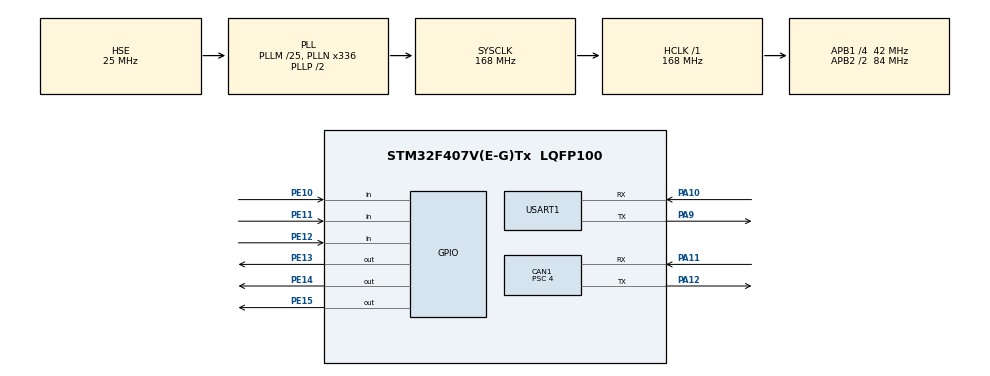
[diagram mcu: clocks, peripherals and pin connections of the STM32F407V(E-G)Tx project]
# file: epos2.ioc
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CAN1.BS1=CAN_BS1_15TQ
CAN1.BS2=CAN_BS2_5TQ
CAN1.CalculateTimeBit=2000
CAN1.CalculateTimeQuantum=95.23809523809524
CAN1.Prescaler=4
Mcu.Family=STM32F4
Mcu.Name=STM32F407V(E-G)Tx
Mcu.Package=LQFP100
NVIC.PriorityGroup=NVIC_PRIORITYGROUP_4
PA10.Mode=Asynchronous
PA10.Signal=USART1_RX
PA11.Mode=Master
PA11.Signal=CAN1_RX
PA12.Mode=Master
PA12.Signal=CAN1_TX
PA9.Mode=Asynchronous
PA9.Signal=USART1_TX
PC14-OSC32_IN.Mode=LSE-External-Oscillator
PC14-OSC32_IN.Signal=RCC_OSC32_IN
PC15-OSC32_OUT.Mode=LSE-External-Oscillator
PC15-OSC32_OUT.Signal=RCC_OSC32_OUT
PE10.Signal=GPIO_Input
PE11.Signal=GPIO_Input
PE12.Signal=GPIO_Input
PE13.Signal=GPIO_Output
PE14.Signal=GPIO_Output
PE15.Signal=GPIO_Output
PH0-OSC_IN.Mode=HSE-External-Oscillator
PH0-OSC_IN.Signal=RCC_OSC_IN
PH1-OSC_OUT.Mode=HSE-External-Oscillator
PH1-OSC_OUT.Signal=RCC_OSC_OUT
ProjectManager.HeapSize=0x200
ProjectManager.StackSize=0x400
ProjectManager.TargetToolchain=MDK-ARM V5
RCC.48MHZClocksFreq_Value=84000000
RCC.AHBFreq_Value=168000000
RCC.APB1CLKDivider=RCC_HCLK_DIV4
RCC.APB1Freq_Value=42000000
RCC.APB1TimFreq_Value=84000000
RCC.APB2CLKDivider=RCC_HCLK_DIV2
RCC.APB2Freq_Value=84000000
RCC.APB2TimFreq_Value=168000000
RCC.CortexFreq_Value=168000000
RCC.HCLKFreq_Value=168000000
RCC.HSE_VALUE=25000000
RCC.HSI_VALUE=16000000
RCC.PLLM=25
RCC.PLLN=336
RCC.PLLSourceVirtual=RCC_PLLSOURCE_HSE
RCC.RCC_RTC_Clock_Source=RCC_RTCCLKSOURCE_LSE
RCC.SYSCLKFreq_VALUE=168000000
RCC.SYSCLKSource=RCC_SYSCLKSOURCE_PLLCLK
RCC.VCOOutputFreq_Value=336000000
USART1.VirtualMode=VM_ASYNC
VP_RTC_VS_RTC_Activate.Mode=RTC_Enabled
board=epos2

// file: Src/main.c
/**
  ******************************************************************************
  * File Name          : main.c
  * Description        : Main program body
  ******************************************************************************
  ** This notice applies to any and all portions of this file
  * that are not between comment pairs USER CODE BEGIN and
  * USER CODE END. Other portions of this file, whether
  * inserted by the user or by software development tools
  * are owned by their respective copyright owners.
  *
  * COPYRIGHT(c) 2017 STMicroelectronics
  *
  * Redistribution and use in source and binary forms, with or without modification,
  * are permitted provided that the following conditions are met:
  *   1. Redistributions of source code must retain the above copyright notice,
  *      this list of conditions and the following disclaimer.
  *   2. Redistributions in binary form must reproduce the above copyright notice,
  *      this list of conditions and the following disclaimer in the documentation
  *      and/or other materials provided with the distribution.
  *   3. Neither the name of STMicroelectronics nor the names of its contributors
  *      may be used to endorse or promote products derived from this software
  *      without specific prior written permission.
  *
  * THIS SOFTWARE IS PROVIDED BY THE COPYRIGHT HOLDERS AND CONTRIBUTORS "AS IS"
  * AND ANY EXPRESS OR IMPLIED WARRANTIES, INCLUDING, BUT NOT LIMITED TO, THE
  * IMPLIED WARRANTIES OF MERCHANTABILITY AND FITNESS FOR A PARTICULAR PURPOSE ARE
  * DISCLAIMED. IN NO EVENT SHALL THE COPYRIGHT HOLDER OR CONTRIBUTORS BE LIABLE
  * FOR ANY DIRECT, INDIRECT, INCIDENTAL, SPECIAL, EXEMPLARY, OR CONSEQUENTIAL
  * DAMAGES (INCLUDING, BUT NOT LIMITED TO, PROCUREMENT OF SUBSTITUTE GOODS OR
  * SERVICES; LOSS OF USE, DATA, OR PROFITS; OR BUSINESS INTERRUPTION) HOWEVER
  * CAUSED AND ON ANY THEORY OF LIABILITY, WHETHER IN CONTRACT, STRICT LIABILITY,
  * OR TORT (INCLUDING NEGLIGENCE OR OTHERWISE) ARISING IN ANY WAY OUT OF THE USE
  * OF THIS SOFTWARE, EVEN IF ADVISED OF THE POSSIBILITY OF SUCH DAMAGE.
  *
  ******************************************************************************
  */
#include "main.h"
#include "stm32f4xx_hal.h"
#include "can.h"
#include "rtc.h"
#include "usart.h"
#include "gpio.h"
#include "motor/motor.h"

/* USER CODE BEGIN PV */
/* Private variables ---------------------------------------------------------*/

/* USER CODE END PV */

void SystemClock_Config(void);

/* USER CODE BEGIN PFP */
/* Private function prototypes -----------------------------------------------*/

/* USER CODE END PFP */

int main(void)
{

  /* MCU Configuration----------------------------------------------------------*/

  /* Reset of all peripherals, Initializes the Flash interface and the Systick. */
  HAL_Init();

  /* Configure the system clock */
  SystemClock_Config();

  /* Initialize all configured peripherals */
  MX_GPIO_Init();
  MX_CAN1_Init();
  MX_USART1_UART_Init();
  MX_RTC_Init();

  /* USER CODE BEGIN 2 */

	motor_init();
	motor_enable();

	printf("Run 50 [mm/sec]\n");
	vel_set_speed_right(50);
	vel_set_speed_left(50);

	printf("Halt!\n");
	motor_halt();

	printf("Run, but not enabled!\n");
	vel_set_speed(50, 0);

	printf("Run again, and rotate!\n");
	motor_enable();
	vel_set_speed(0, (2.0*3.14/10.0)*1000); // Speed [mm/sec], Rotation [mRad/sec]

	printf("Zero speed\n");
	vel_set_speed(0, 0);

	/*
	printf("Possition mode!\n");
	motor_setmode(Motor_mode_Position);
	pos_rotate_grad(180);
	*/

	motor_disable();
	motor_close();

  /* USER CODE END 2 */

  /* Infinite loop */
  while (1)
  {

  }

}

/** System Clock Configuration
*/
void SystemClock_Config(void)
{

  RCC_OscInitTypeDef RCC_OscInitStruct;
  RCC_ClkInitTypeDef RCC_ClkInitStruct;
  RCC_PeriphCLKInitTypeDef PeriphClkInitStruct;

    /**Configure the main internal regulator output voltage
    */
  __HAL_RCC_PWR_CLK_ENABLE();

  __HAL_PWR_VOLTAGESCALING_CONFIG(PWR_REGULATOR_VOLTAGE_SCALE1);

    /**Initializes the CPU, AHB and APB busses clocks
    */
  RCC_OscInitStruct.OscillatorType = RCC_OSCILLATORTYPE_HSE|RCC_OSCILLATORTYPE_LSE;
  RCC_OscInitStruct.HSEState = RCC_HSE_ON;
  RCC_OscInitStruct.LSEState = RCC_LSE_ON;
  RCC_OscInitStruct.PLL.PLLState = RCC_PLL_ON;
  RCC_OscInitStruct.PLL.PLLSource = RCC_PLLSOURCE_HSE;
  RCC_OscInitStruct.PLL.PLLM = 25;
  RCC_OscInitStruct.PLL.PLLN = 336;
  RCC_OscInitStruct.PLL.PLLP = RCC_PLLP_DIV2;
  RCC_OscInitStruct.PLL.PLLQ = 4;
  if (HAL_RCC_OscConfig(&RCC_OscInitStruct) != HAL_OK)
  {
    _Error_Handler(__FILE__, __LINE__);
  }

    /**Initializes the CPU, AHB and APB busses clocks
    */
  RCC_ClkInitStruct.ClockType = RCC_CLOCKTYPE_HCLK|RCC_CLOCKTYPE_SYSCLK
                              |RCC_CLOCKTYPE_PCLK1|RCC_CLOCKTYPE_PCLK2;
  RCC_ClkInitStruct.SYSCLKSource = RCC_SYSCLKSOURCE_PLLCLK;
  RCC_ClkInitStruct.AHBCLKDivider = RCC_SYSCLK_DIV1;
  RCC_ClkInitStruct.APB1CLKDivider = RCC_HCLK_DIV4;
  RCC_ClkInitStruct.APB2CLKDivider = RCC_HCLK_DIV2;

  if (HAL_RCC_ClockConfig(&RCC_ClkInitStruct, FLASH_LATENCY_5) != HAL_OK)
  {
    _Error_Handler(__FILE__, __LINE__);
  }

  PeriphClkInitStruct.PeriphClockSelection = RCC_PERIPHCLK_RTC;
  PeriphClkInitStruct.RTCClockSelection = RCC_RTCCLKSOURCE_LSE;
  if (HAL_RCCEx_PeriphCLKConfig(&PeriphClkInitStruct) != HAL_OK)
  {
    _Error_Handler(__FILE__, __LINE__);
  }

    /**Configure the Systick interrupt time
    */
  HAL_SYSTICK_Config(HAL_RCC_GetHCLKFreq()/1000);

    /**Configure the Systick
    */
  HAL_SYSTICK_CLKSourceConfig(SYSTICK_CLKSOURCE_HCLK);

  /* SysTick_IRQn interrupt configuration */
  HAL_NVIC_SetPriority(SysTick_IRQn, 0, 0);
}

void _Error_Handler(char * file, int line)
{
  while(1)
  {
  }
}

/************************ (C) COPYRIGHT STMicroelectronics *****END OF FILE****/
